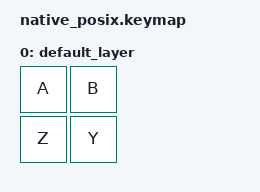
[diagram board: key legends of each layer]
#include <dt-bindings/zmk/keys.h>
#include <behaviors.dtsi>
#include <dt-bindings/zmk/kscan-mock.h>

/ {
	behaviors {
		combo_one {
			compatible = "zmk,behavior-combo";
			label = "COMBO_ONE";
			timeout-ms = <30>;
			key-positions = <0 1>;
			bindings = <&kp C>;
		};

		combo_two {
			compatible = "zmk,behavior-combo";
			label = "COMBO_TWO";
			timeout-ms = <30>;
			key-positions = <2 3>;
			bindings = <&kp D>;
		};
	};

	keymap {
		compatible = "zmk,keymap";
		label ="Default keymap";

		default_layer {
			bindings = <
				&kp A &kp B
				&kp Z &kp Y
			>;
		};
	};
};

&kscan {
	events = <
		ZMK_MOCK_PRESS(0,0,10) 
		ZMK_MOCK_PRESS(0,1,10) 
		ZMK_MOCK_PRESS(1,0,10) 
		ZMK_MOCK_PRESS(1,1,10) 
		
		ZMK_MOCK_RELEASE(1,0,10) 
		ZMK_MOCK_RELEASE(1,1,10)
		ZMK_MOCK_RELEASE(0,0,10) 
		ZMK_MOCK_RELEASE(0,1,10)
	>;
};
